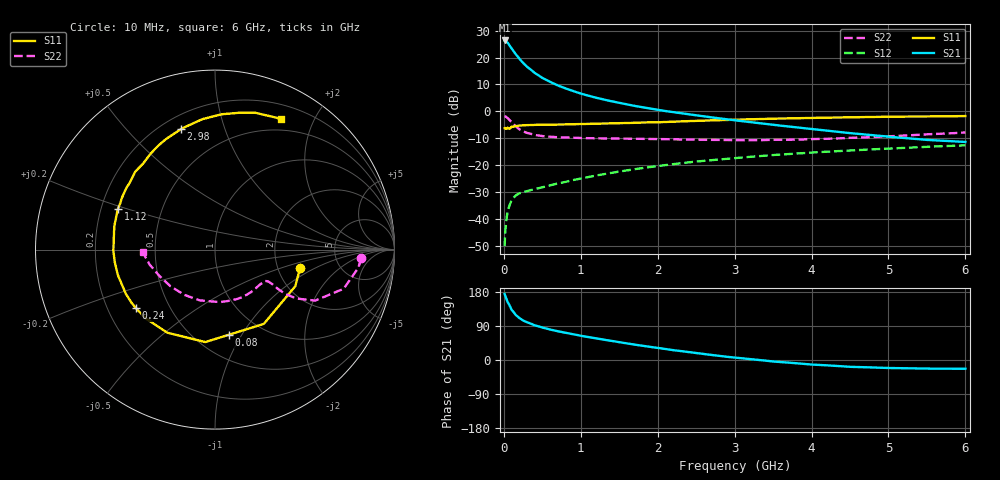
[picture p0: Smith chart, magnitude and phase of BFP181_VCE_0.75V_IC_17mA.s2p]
! Infineon Technologies  Discrete & RF Semiconductors
! BFP181
! VCE = 0.75V,  IC =  17 mA
! Common Emitter S-Parameters:  Jan 2016
# GHz  S  MA  R  50
!  f  S11  S21  S12  S22
! GHz  MAG  ANG  MAG  ANG  MAG  ANG  MAG  ANG
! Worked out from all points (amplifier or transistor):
!   210 points, 10 MHz to 6 GHz, reference 50 ohm
!   highest |S21| = 26.4 dB at 10 MHz (marker M1)
!   |S21| within 3 dB of that: start of sweep to 102.9 MHz
!   unconditionally stable (mu >= 1): start of sweep to 23.41 MHz; 223.9 MHz to end of sweep
!   at 185 MHz: K = 0.88, MSG = 25.5 dB, |S12| = -30.8 dB
!   at 1.52 GHz: K = 2.52, MAG = 5.8 dB, |S12| = -22.3 dB
!   at 6 GHz: K = 2.35, MAG = -5.9 dB, |S12| = -12.7 dB
!   S11 on the Smith chart (normalised r, x): 10 MHz: 2.65, -0.73; 80 MHz: 0.71, -0.88; 240 MHz: 0.32, -0.30; 1.12 GHz: 0.27, +0.19; 2.98 GHz: 0.28, +0.72; 6 GHz: 0.36, +1.56
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0.01  0.485 -12.5  20.8 174.3  0.0031 72.8  0.816 -3.4
0.02  0.4917 -24.5  20.63 168.8  0.0061 75.8  0.8053 -7.2
0.05  0.4953 -56.7  18.91 152.6  0.0139 67.3  0.7496 -16.9
0.08  0.4808 -80.9  16.28 141.9  0.0188 56.1  0.6729 -22.5
0.1  0.518 -96.0  14.93 132.8  0.0223 51.5  0.6261 -27.0
0.15  0.5338 -119.9  11.8 119.6  0.0269 44.6  0.5306 -30.9
0.2  0.544 -135.2  9.554 110.7  0.0297 41.4  0.4656 -32.2
0.24  0.5484 -143.7  8.256 105.7  0.031 39.8  0.4325 -32.1
0.3  0.5545 -153.7  6.775 99.5  0.0329 39.3  0.3972 -31.7
0.32  0.5536 -156.1  6.45 98.2  0.0334 39.5  0.3906 -31.6
0.4  0.5597 -165.5  5.194 91.5  0.0356 40.3  0.364 -30.9
0.5  0.5629 -173.1  4.179 85.5  0.0387 41.1  0.3457 -30.9
0.7  0.5665 174.8  3.025 75.8  0.0453 45.5  0.3296 -32.2
1.02  0.5808 160.8  2.098 63.2  0.0569 48.6  0.3181 -37.2
1.12  0.586 157.3  1.918 59.6  0.061 49.2  0.3159 -39.2
1.5  0.6018 145.1  1.435 46.8  0.0759 50.3  0.3116 -47.1
2.02  0.6261 129.3  1.054 31.4  0.0967 48.5  0.3048 -60.4
2.98  0.6979 105.7  0.687 6.8  0.1342 41.6  0.2911 -89.1
3.1  0.7041 103.2  0.655 4.5  0.1387 40.5  0.2897 -93.1
4.1  0.758 85.6  0.453 -13.0  0.1744 31.4  0.3056 -127.3
5.1  0.7955 72.8  0.328 -21.4  0.2059 22.2  0.348 -157.6
6  0.8155 63.3  0.269 -23.1  0.2329 13.2  0.4035 -178.0
